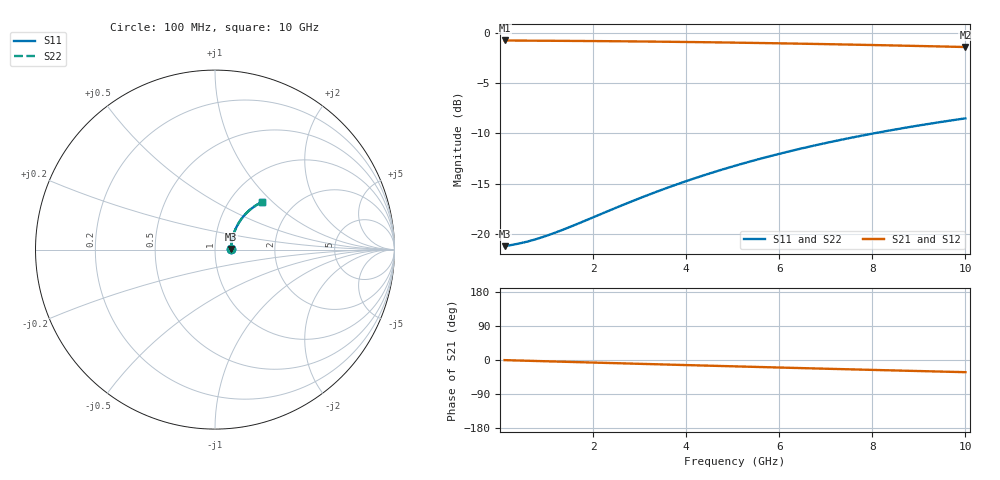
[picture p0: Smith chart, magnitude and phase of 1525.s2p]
# Hz S RI R 50.00
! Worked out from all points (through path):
!   100 points, 100 MHz to 10 GHz, reference 50 ohm
!   highest |S21| = -0.79 dB at 100 MHz (marker M1); lowest = -1.4 dB at 10 GHz (marker M2)
!   group delay of S21, straight-line fit = 8.95 ps
!   lowest |S11| = -21.2 dB at 100 MHz (marker M3), VSWR 1.19, Z = 59.5 + j0.427 ohm
!   |S11| at or under -10 dB: start of sweep to 8.051 GHz
!   |S22| runs from -21.2 to -8.5 dB; largest |S21 - S12| = 0
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1e8  0.0868 0.00356  0.9132 -0.00539  0.9132 -0.00539  0.0868 0.00356
3e8  0.0879 0.0106  0.9121 -0.0161  0.9121 -0.0161  0.0879 0.0106
5e8  0.0888 0.0177  0.9111 -0.0269  0.9111 -0.0269  0.0888 0.0177
8e8  0.0902 0.0282  0.9096 -0.0429  0.9096 -0.0429  0.0902 0.0282
1e9  0.0913 0.0352  0.9085 -0.0536  0.9085 -0.0536  0.0913 0.0352
1.2e9  0.0925 0.0422  0.9072 -0.0642  0.9072 -0.0642  0.0925 0.0422
1.5e9  0.0946 0.0526  0.905 -0.0801  0.905 -0.0801  0.0946 0.0526
1.8e9  0.0969 0.0629  0.9025 -0.0959  0.9025 -0.0959  0.0969 0.0629
2.7e9  0.106 0.093  0.8927 -0.1425  0.8927 -0.1425  0.106 0.093
3.4e9  0.115 0.1155  0.8829 -0.1779  0.8829 -0.1779  0.115 0.1155
3.8e9  0.1209 0.128  0.8765 -0.1978  0.8765 -0.1978  0.1209 0.128
4.2e9  0.1274 0.1401  0.8695 -0.2172  0.8695 -0.2172  0.1274 0.1401
4.6e9  0.1344 0.1519  0.8619 -0.2364  0.8619 -0.2364  0.1344 0.1519
5.1e9  0.1437 0.166  0.8516 -0.2597  0.8516 -0.2597  0.1437 0.166
5.5e9  0.1517 0.1768  0.8429 -0.2779  0.8429 -0.2779  0.1517 0.1768
5.9e9  0.1602 0.1872  0.8336 -0.2957  0.8336 -0.2957  0.1602 0.1872
6.3e9  0.169 0.1972  0.8239 -0.3131  0.8239 -0.3131  0.169 0.1972
6.7e9  0.1782 0.2066  0.8138 -0.3299  0.8138 -0.3299  0.1782 0.2066
7.5e9  0.1976 0.2241  0.7923 -0.3622  0.7923 -0.3622  0.1976 0.2241
8.4e9  0.2208 0.2413  0.7666 -0.3962  0.7666 -0.3962  0.2208 0.2413
9.2e9  0.2423 0.2545  0.7425 -0.4243  0.7425 -0.4243  0.2423 0.2545
1e10  0.2644 0.2656  0.7176 -0.4504  0.7176 -0.4504  0.2644 0.2656
